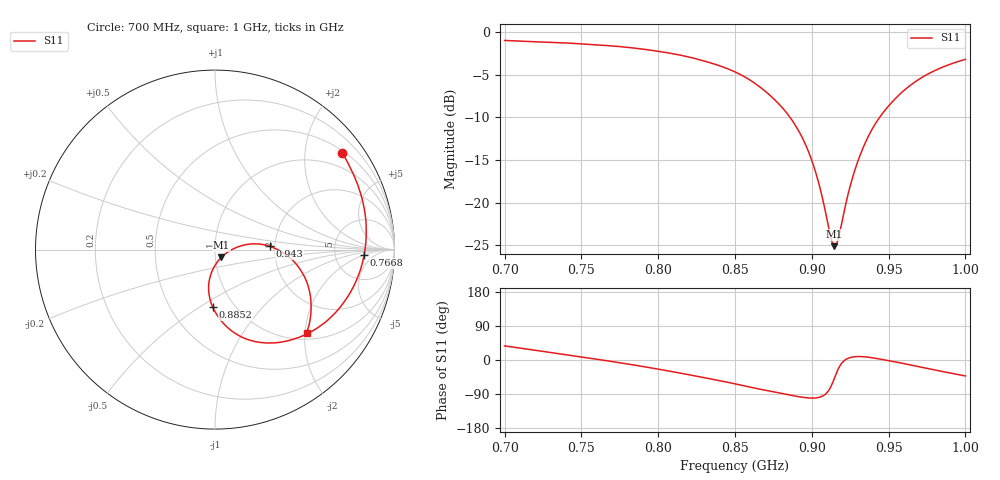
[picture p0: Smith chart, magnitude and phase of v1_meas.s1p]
! 5/26/2025 8:47:34 PM
! C:\ANRITSUVNA\DORIAN\26\V2_MEAS2.S1P
! CHANNEL.1
! TR.MEASUREMENT
! CORRECTED.DATA
! RF.CORRECTION: FULL.TWO.PORT.CAL.PORT.1.2
! AVERAGING: 1 PointByPoint
! IF.BANDWIDTH: 300HZ
! SWEEPTYPE:  FREQ.SWEEP(Linear)
! Reference Plane Port Info
! PORT:  PORT1
! DISTANCE:  0  m
! TIME:  0  s
! PHASE.OFFSET:  0 °
! LOSS:  0  dB
! REF.LOSS:  0  dB
! REF.FREQ:  0  Hz
! Power Info
! POWER:  5  dBm
! EFF.POWER:  5  dBm
# GHZ S RI R 50.0
! FREQ.GHZ  S11RE  S11IM
!; PortSelection: Port_1
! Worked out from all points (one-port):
!   401 points, 700 MHz to 1 GHz, reference 50 ohm
!   lowest |S11| = -25.1 dB at 914.5 MHz (marker M1), VSWR 1.12, Z = 53.5 - j4.6 ohm
!   |S11| at or under -10 dB: 885.8 MHz to 944.2 MHz (58.4 MHz wide, 6.38 % of centre)
!   S11 on the Smith chart (normalised r, x): 700 MHz: 0.55, +2.87; 766.8 MHz: 10, -2; 885.2 MHz: 0.79, -0.57; 943 MHz: 1.87, +0.08; 1 GHz: 1.16, -2.04
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0.7  0.7088 0.5389
0.72175  0.7947 0.3626
0.7375  0.8315 0.2288
0.76675  0.8305 -0.0298
0.775  0.8134 -0.1026
0.79375  0.738 -0.2646
0.8125  0.6163 -0.4028
0.832  0.444 -0.4972
0.85  0.2655 -0.5188
0.86575  0.1113 -0.4659
0.87625  0.0338 -0.3956
0.88525  -0.0126 -0.321
0.8875  -0.0209 -0.2998
0.895  -0.0354 -0.2254
0.901  -0.0303 -0.1634
0.90625  -0.0129 -0.1122
0.91225  0.0198 -0.06
0.9145  0.0355 -0.0428
0.916  0.0467 -0.0325
0.9175  0.0586 -0.0228
0.925  0.1246 0.0139
0.92875  0.1603 0.0252
0.93325  0.2056 0.0319
0.943  0.3046 0.0183
0.952  0.3851 -0.0213
0.9625  0.4639 -0.0954
0.9805  0.5327 -0.2672
1  0.5115 -0.4627
